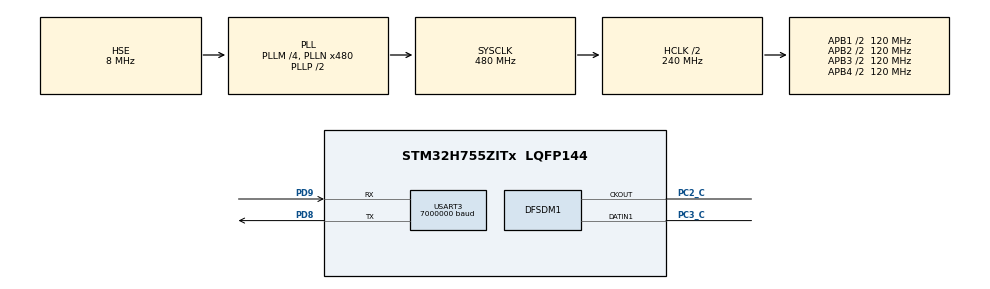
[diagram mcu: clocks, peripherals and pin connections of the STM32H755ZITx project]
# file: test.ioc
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Mcu.Family=STM32H7
RCC.CortexFreq_Value=480000000
RCC.HPRE=RCC_HCLK_DIV2
PH0-OSC_IN\ (PH0).PinAttribute=CortexM7
PH0-OSC_IN\ (PH0).Signal=RCC_OSC_IN
RCC.PLLFRACN=0
Dma.DFSDM1_FLT0.0.RequestNumber=1
RCC.PLL2FRACN=0
Dma.DFSDM1_FLT0.0.Mode=DMA_CIRCULAR
Dma.DFSDM1_FLT0.0.MemDataAlignment=DMA_MDATAALIGN_WORD
PD9.Mode=Asynchronous
RCC.SYSCLKSource=RCC_SYSCLKSOURCE_PLLCLK
ProjectManager.StackSize=0x400
USART3.VirtualMode-Asynchronous=VM_ASYNC
USART3.BaudRate=7000000
RCC.HCLKFreq_Value=240000000
Dma.DFSDM1_FLT0.0.EventEnable=DISABLE
ARM.CMSIS.5.8.0_M7.CMSISJjDSP=Source
PD8.Signal=USART3_TX
PC2_C.Signal=S_CKOUTDFSDM1
RCC.HSE_VALUE=8000000
Dma.DFSDM1_FLT0.0.Direction=DMA_PERIPH_TO_MEMORY
RCC.DIVM1=4
DFSDM1.FastMode_reg_FIL0=ENABLE
NVIC2.PriorityGroup=NVIC_PRIORITYGROUP_4
Dma.DFSDM1_FLT0.0.Instance=DMA1_Stream0
Dma.DFSDM1_FLT0.0.SyncSignalID=NONE
PD8.PinAttribute=CortexM7
VP_SYS_M4_VS_Systick.Mode=SysTick
CortexM7.IPs=FATFS_M7\:I,FREERTOS_M7\:I,IWDG1\:I,RCC\:I,WWDG1\:I,DMA\:I,BDMA\:I,MDMA\:I,NVIC1\:I,ETH\:I,USART3\:I,USB_OTG_FS\:I,SYS\:I,CORTEX_M7\:I,DEBUG\:I,USB_DEVICE_M7\:I,USB_HOST_M7\:I,PDM2PCM_M7\:I,PWR\:I,RESMGR_UTILITY\:I,OPENAMP_M7\:I,VREFBUF\:I,DFSDM1\:I,ARM.CMSIS.5.8.0_M7\:I
RCC.APB3Freq_Value=120000000
PC2_C.PinAttribute=CortexM7
Mcu.Package=LQFP144
RCC.PLL3FRACN=0
RCC.D1PPRE=RCC_APB3_DIV2
VP_ARM.CMSIS_M7_VS_CMSISJjDSP_1.9.0-dev_5.8.0.Mode=CMSISJjDSP
Dma.DFSDM1_FLT0.0.FIFOMode=DMA_FIFOMODE_DISABLE
RCC.APB4Freq_Value=120000000
Dma.Request0=DFSDM1_FLT0
SH.S_DATAIN1DFSDM1.0=DFSDM1_DATIN1,PDM_SPI_Input_from_ch01_and_Internal_Clock
PH0-OSC_IN\ (PH0).Mode=HSE-External-Clock-Source
DFSDM1.SincOrder_FIL0=DFSDM_FILTER_SINC3_ORDER
RCC.SupplySource=PWR_DIRECT_SMPS_SUPPLY
Dma.DFSDM1_FLT0.0.SyncRequestNumber=1
RCC.PLLSourceVirtual=RCC_PLLSOURCE_HSE
VP_ARM.CMSIS_M7_VS_CMSISJjCORE_5.5.0_5.8.0.Mode=CMSISJjCORE
RCC.DIVQ1=4
Dma.DFSDM1_FLT0.0.PeriphInc=DMA_PINC_DISABLE
Dma.DFSDM1_FLT0.0.SyncPolarity=HAL_DMAMUX_SYNC_NO_EVENT
Dma.DFSDM1_FLT0.0.MemInc=DMA_MINC_ENABLE
Dma.DFSDM1_FLT0.0.Priority=DMA_PRIORITY_LOW
NVIC1.PriorityGroup=NVIC_PRIORITYGROUP_4
RCC.D2PPRE2=RCC_APB2_DIV2
RCC.D2PPRE1=RCC_APB1_DIV2
PD9.Signal=USART3_RX
RCC.PWR_Regulator_Voltage_Scale=PWR_REGULATOR_VOLTAGE_SCALE0
Dma.DFSDM1_FLT0.0.SyncEnable=DISABLE
Dma.DFSDM1_FLT0.0.PeriphDataAlignment=DMA_PDATAALIGN_WORD
ProjectManager.TargetToolchain=STM32CubeIDE
RCC.DIVN1=480
NVIC1.DFSDM1_FLT0_IRQn=true\:0\:0\:false\:false\:true\:true\:true
RCC.USBFreq_Value=240000000
PD8.Mode=Asynchronous
Dma.DFSDM1_FLT0.0.SignalID=NONE
board=NUCLEO-H755ZI-Q
ARM.CMSIS.5.8.0_M7.CMSISJjCORE=true
RCC.APB2Freq_Value=120000000
SH.S_CKOUTDFSDM1.0=DFSDM1_CKOUT,PDM_SPI_Input_from_ch01_and_Internal_Clock
RCC.ADCFreq_Value=16125000
Mcu.Name=STM32H755ZITx
RCC.SYSCLKFreq_VALUE=480000000
PC3_C.PinAttribute=CortexM7
ProjectManager.HeapSize=0x200
PD9.PinAttribute=CortexM7
NVIC1.DMA1_Stream0_IRQn=true\:0\:0\:false\:false\:true\:false\:true
PC3_C.Signal=S_DATAIN1DFSDM1
RCC.D3PPRE=RCC_APB4_DIV2
DFSDM1.Filter_regChannel_FIL0=DFSDM_CHANNEL_0
RCC.APB1Freq_Value=120000000
Dma.DFSDM1_FLT0.0.Polarity=HAL_DMAMUX_REQ_GEN_RISING
CortexM4.IPs=FATFS_M4\:I,FREERTOS_M4\:I,IWDG2\:I,RCC,WWDG2\:I,DMA,BDMA,MDMA,NVIC2\:I,ETH,DEBUG,USB_DEVICE_M4\:I,USB_HOST_M4\:I,PDM2PCM_M4\:I,PWR,RESMGR_UTILITY,SYS_M4\:I,CORTEX_M4\:I,OPENAMP_M4\:I,VREFBUF

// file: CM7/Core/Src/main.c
/* USER CODE BEGIN Header */
/**
  ******************************************************************************
  * @file           : main.c
  * @brief          : Main program body
  ******************************************************************************
  * @attention
  *
  * <h2><center>&copy; Copyright (c) 2021 STMicroelectronics.
  * All rights reserved.</center></h2>
  *
  * This software component is licensed by ST under BSD 3-Clause license,
  * the "License"; You may not use this file except in compliance with the
  * License. You may obtain a copy of the License at:
  *                        opensource.org/licenses/BSD-3-Clause
  *
  ******************************************************************************
  */
/* USER CODE END Header */
#include "main.h"

/* USER CODE BEGIN PD */

#ifndef HSEM_ID_0
#define HSEM_ID_0 (0U) /* HW semaphore 0*/
#endif

#define PCM_CHUNK_SIZE	1024

/* USER CODE END PD */

DFSDM_Filter_HandleTypeDef hdfsdm1_filter0;
DFSDM_Channel_HandleTypeDef hdfsdm1_channel0;
DMA_HandleTypeDef hdma_dfsdm1_flt0;

UART_HandleTypeDef huart3;

/* USER CODE BEGIN PV */
typedef enum{
	NONE,
	HALF,
	FULL
}flag_t;

flag_t bottomLeftChannel = NONE;

q31_t pcmBuffer_q31[2*PCM_CHUNK_SIZE];
q15_t pcmBuffer_q15[2*PCM_CHUNK_SIZE];

float pcmBuffer_flt[2*PCM_CHUNK_SIZE];

/* USER CODE END PV */

void SystemClock_Config(void);
static void MX_GPIO_Init(void);
static void MX_DMA_Init(void);
static void MX_USART3_UART_Init(void);
static void MX_DFSDM1_Init(void);

int main(void)
{
/* USER CODE BEGIN Boot_Mode_Sequence_0 */
  int32_t timeout;
/* USER CODE END Boot_Mode_Sequence_0 */

/* USER CODE BEGIN Boot_Mode_Sequence_1 */
  /* Wait until CPU2 boots and enters in stop mode or timeout*/
  timeout = 0xFFFF;
  while((__HAL_RCC_GET_FLAG(RCC_FLAG_D2CKRDY) != RESET) && (timeout-- > 0));
  if ( timeout < 0 )
  {
  Error_Handler();
  }
/* USER CODE END Boot_Mode_Sequence_1 */
  /* MCU Configuration--------------------------------------------------------*/

  /* Reset of all peripherals, Initializes the Flash interface and the Systick. */
  HAL_Init();

  /* Configure the system clock */
  SystemClock_Config();
/* USER CODE BEGIN Boot_Mode_Sequence_2 */
/* When system initialization is finished, Cortex-M7 will release Cortex-M4 by means of
HSEM notification */
/*HW semaphore Clock enable*/
__HAL_RCC_HSEM_CLK_ENABLE();
/*Take HSEM */
HAL_HSEM_FastTake(HSEM_ID_0);
/*Release HSEM in order to notify the CPU2(CM4)*/
HAL_HSEM_Release(HSEM_ID_0,0);
/* wait until CPU2 wakes up from stop mode */
timeout = 0xFFFF;
while((__HAL_RCC_GET_FLAG(RCC_FLAG_D2CKRDY) == RESET) && (timeout-- > 0));
if ( timeout < 0 )
{
Error_Handler();
}
/* USER CODE END Boot_Mode_Sequence_2 */

  /* Initialize all configured peripherals */
  MX_GPIO_Init();
  MX_DMA_Init();
  MX_USART3_UART_Init();
  MX_DFSDM1_Init();
  /* USER CODE BEGIN 2 */
  bottomLeftChannel = NONE;

  HAL_DFSDM_FilterRegularStart_DMA(&hdfsdm1_filter0, pcmBuffer_q31, 2*PCM_CHUNK_SIZE);
  /* USER CODE END 2 */

  /* Infinite loop */
  /* USER CODE BEGIN WHILE */
  while (1)
  {
	  if(bottomLeftChannel == HALF){
		  bottomLeftChannel = NONE;
		  arm_q31_to_float(&pcmBuffer_q31[0], &pcmBuffer_flt[0], PCM_CHUNK_SIZE);
		  HAL_UART_Transmit_DMA(&huart3, &pcmBuffer_flt[0], 4*PCM_CHUNK_SIZE);

	  }

	  if(bottomLeftChannel == FULL){
		  bottomLeftChannel = NONE;
		  arm_q31_to_float(&pcmBuffer_q31[PCM_CHUNK_SIZE], &pcmBuffer_flt[PCM_CHUNK_SIZE], PCM_CHUNK_SIZE);
		  HAL_UART_Transmit_DMA(&huart3, &pcmBuffer_flt[PCM_CHUNK_SIZE], 4*PCM_CHUNK_SIZE);
	  }

    /* USER CODE END WHILE */

  }
}

void SystemClock_Config(void)
{
  RCC_OscInitTypeDef RCC_OscInitStruct = {0};
  RCC_ClkInitTypeDef RCC_ClkInitStruct = {0};

  /** Supply configuration update enable
  */
  HAL_PWREx_ConfigSupply(PWR_DIRECT_SMPS_SUPPLY);
  /** Configure the main internal regulator output voltage
  */
  __HAL_PWR_VOLTAGESCALING_CONFIG(PWR_REGULATOR_VOLTAGE_SCALE0);

  while(!__HAL_PWR_GET_FLAG(PWR_FLAG_VOSRDY)) {}
  /** Initializes the RCC Oscillators according to the specified parameters
  * in the RCC_OscInitTypeDef structure.
  */
  RCC_OscInitStruct.OscillatorType = RCC_OSCILLATORTYPE_HSE;
  RCC_OscInitStruct.HSEState = RCC_HSE_BYPASS;
  RCC_OscInitStruct.PLL.PLLState = RCC_PLL_ON;
  RCC_OscInitStruct.PLL.PLLSource = RCC_PLLSOURCE_HSE;
  RCC_OscInitStruct.PLL.PLLM = 4;
  RCC_OscInitStruct.PLL.PLLN = 480;
  RCC_OscInitStruct.PLL.PLLP = 2;
  RCC_OscInitStruct.PLL.PLLQ = 4;
  RCC_OscInitStruct.PLL.PLLR = 2;
  RCC_OscInitStruct.PLL.PLLRGE = RCC_PLL1VCIRANGE_1;
  RCC_OscInitStruct.PLL.PLLVCOSEL = RCC_PLL1VCOWIDE;
  RCC_OscInitStruct.PLL.PLLFRACN = 0;
  if (HAL_RCC_OscConfig(&RCC_OscInitStruct) != HAL_OK)
  {
    Error_Handler();
  }
  /** Initializes the CPU, AHB and APB buses clocks
  */
  RCC_ClkInitStruct.ClockType = RCC_CLOCKTYPE_HCLK|RCC_CLOCKTYPE_SYSCLK
                              |RCC_CLOCKTYPE_PCLK1|RCC_CLOCKTYPE_PCLK2
                              |RCC_CLOCKTYPE_D3PCLK1|RCC_CLOCKTYPE_D1PCLK1;
  RCC_ClkInitStruct.SYSCLKSource = RCC_SYSCLKSOURCE_PLLCLK;
  RCC_ClkInitStruct.SYSCLKDivider = RCC_SYSCLK_DIV1;
  RCC_ClkInitStruct.AHBCLKDivider = RCC_HCLK_DIV2;
  RCC_ClkInitStruct.APB3CLKDivider = RCC_APB3_DIV2;
  RCC_ClkInitStruct.APB1CLKDivider = RCC_APB1_DIV2;
  RCC_ClkInitStruct.APB2CLKDivider = RCC_APB2_DIV2;
  RCC_ClkInitStruct.APB4CLKDivider = RCC_APB4_DIV2;

  if (HAL_RCC_ClockConfig(&RCC_ClkInitStruct, FLASH_LATENCY_4) != HAL_OK)
  {
    Error_Handler();
  }
}

static void MX_DFSDM1_Init(void)
{

  hdfsdm1_filter0.Instance = DFSDM1_Filter0;
  hdfsdm1_filter0.Init.RegularParam.Trigger = DFSDM_FILTER_SW_TRIGGER;
  hdfsdm1_filter0.Init.RegularParam.FastMode = ENABLE;
  hdfsdm1_filter0.Init.RegularParam.DmaMode = DISABLE;
  hdfsdm1_filter0.Init.FilterParam.SincOrder = DFSDM_FILTER_SINC3_ORDER;
  hdfsdm1_filter0.Init.FilterParam.Oversampling = 1;
  hdfsdm1_filter0.Init.FilterParam.IntOversampling = 1;
  if (HAL_DFSDM_FilterInit(&hdfsdm1_filter0) != HAL_OK)
  {
    Error_Handler();
  }
  hdfsdm1_channel0.Instance = DFSDM1_Channel0;
  hdfsdm1_channel0.Init.OutputClock.Activation = ENABLE;
  hdfsdm1_channel0.Init.OutputClock.Selection = DFSDM_CHANNEL_OUTPUT_CLOCK_SYSTEM;
  hdfsdm1_channel0.Init.OutputClock.Divider = 2;
  hdfsdm1_channel0.Init.Input.Multiplexer = DFSDM_CHANNEL_EXTERNAL_INPUTS;
  hdfsdm1_channel0.Init.Input.DataPacking = DFSDM_CHANNEL_STANDARD_MODE;
  hdfsdm1_channel0.Init.Input.Pins = DFSDM_CHANNEL_FOLLOWING_CHANNEL_PINS;
  hdfsdm1_channel0.Init.SerialInterface.Type = DFSDM_CHANNEL_SPI_RISING;
  hdfsdm1_channel0.Init.SerialInterface.SpiClock = DFSDM_CHANNEL_SPI_CLOCK_INTERNAL;
  hdfsdm1_channel0.Init.Awd.FilterOrder = DFSDM_CHANNEL_FASTSINC_ORDER;
  hdfsdm1_channel0.Init.Awd.Oversampling = 1;
  hdfsdm1_channel0.Init.Offset = 0;
  hdfsdm1_channel0.Init.RightBitShift = 0x00;
  if (HAL_DFSDM_ChannelInit(&hdfsdm1_channel0) != HAL_OK)
  {
    Error_Handler();
  }
  if (HAL_DFSDM_FilterConfigRegChannel(&hdfsdm1_filter0, DFSDM_CHANNEL_0, DFSDM_CONTINUOUS_CONV_ON) != HAL_OK)
  {
    Error_Handler();
  }

}

static void MX_USART3_UART_Init(void)
{

  huart3.Instance = USART3;
  huart3.Init.BaudRate = 7000000;
  huart3.Init.WordLength = UART_WORDLENGTH_8B;
  huart3.Init.StopBits = UART_STOPBITS_1;
  huart3.Init.Parity = UART_PARITY_NONE;
  huart3.Init.Mode = UART_MODE_TX_RX;
  huart3.Init.HwFlowCtl = UART_HWCONTROL_NONE;
  huart3.Init.OverSampling = UART_OVERSAMPLING_16;
  huart3.Init.OneBitSampling = UART_ONE_BIT_SAMPLE_DISABLE;
  huart3.Init.ClockPrescaler = UART_PRESCALER_DIV1;
  huart3.AdvancedInit.AdvFeatureInit = UART_ADVFEATURE_NO_INIT;
  if (HAL_UART_Init(&huart3) != HAL_OK)
  {
    Error_Handler();
  }
  if (HAL_UARTEx_SetTxFifoThreshold(&huart3, UART_TXFIFO_THRESHOLD_1_8) != HAL_OK)
  {
    Error_Handler();
  }
  if (HAL_UARTEx_SetRxFifoThreshold(&huart3, UART_RXFIFO_THRESHOLD_1_8) != HAL_OK)
  {
    Error_Handler();
  }
  if (HAL_UARTEx_DisableFifoMode(&huart3) != HAL_OK)
  {
    Error_Handler();
  }

}

static void MX_DMA_Init(void)
{

  /* DMA controller clock enable */
  __HAL_RCC_DMA1_CLK_ENABLE();

  /* DMA interrupt init */
  /* DMA1_Stream0_IRQn interrupt configuration */
  HAL_NVIC_SetPriority(DMA1_Stream0_IRQn, 0, 0);
  HAL_NVIC_EnableIRQ(DMA1_Stream0_IRQn);

}

static void MX_GPIO_Init(void)
{

  /* GPIO Ports Clock Enable */
  __HAL_RCC_GPIOH_CLK_ENABLE();
  __HAL_RCC_GPIOC_CLK_ENABLE();
  __HAL_RCC_GPIOD_CLK_ENABLE();

}

/* USER CODE BEGIN 4 */
void HAL_DFSDM_FilterRegConvHalfCpltCallback(DFSDM_Filter_HandleTypeDef *hdfsdm_filter){
	if(hdfsdm_filter == hdfsdm1_filter0){
		bottomLeftChannel = HALF;
		SCB_InvalidateDCache_by_Addr((uint32_t*)&pcmBuffer_q31, PCM_CHUNK_SIZE);
	}
}

void HAL_DFSDM_FilterRegConvCpltCallback(DFSDM_Filter_HandleTypeDef *hdfsdm_filter){
	if(hdfsdm_filter == hdfsdm1_filter0){
			bottomLeftChannel = FULL;
			SCB_InvalidateDCache_by_Addr((uint32_t*)&pcmBuffer->bottomRightChannel[PCM_CHUNK_SIZE], PCM_CHUNK_SIZE);
		}
}
/* USER CODE END 4 */

void Error_Handler(void)
{
  __disable_irq();
  while (1)
  {
  }
}

/************************ (C) COPYRIGHT STMicroelectronics *****END OF FILE****/
